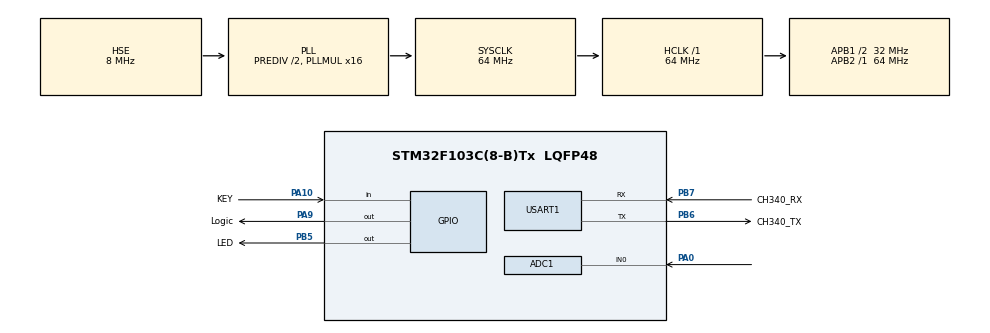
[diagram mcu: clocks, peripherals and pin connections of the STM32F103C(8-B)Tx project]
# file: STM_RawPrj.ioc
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ADC1.Channel-0\#ChannelRegularConversion=ADC_CHANNEL_0
ADC1.ContinuousConvMode=ENABLE
ADC1.NbrOfConversion=1
ADC1.NbrOfConversionFlag=1
ADC1.Rank-0\#ChannelRegularConversion=1
ADC1.SamplingTime-0\#ChannelRegularConversion=ADC_SAMPLETIME_239CYCLES_5
ADC1.master=1
Dma.ADC1.0.Direction=DMA_PERIPH_TO_MEMORY
Dma.ADC1.0.Instance=DMA1_Channel1
Dma.ADC1.0.MemDataAlignment=DMA_MDATAALIGN_HALFWORD
Dma.ADC1.0.MemInc=DMA_MINC_ENABLE
Dma.ADC1.0.Mode=DMA_CIRCULAR
Dma.ADC1.0.PeriphDataAlignment=DMA_PDATAALIGN_HALFWORD
Dma.ADC1.0.PeriphInc=DMA_PINC_DISABLE
Dma.ADC1.0.Priority=DMA_PRIORITY_LOW
Dma.Request0=ADC1
Mcu.Family=STM32F1
Mcu.Name=STM32F103C(8-B)Tx
Mcu.Package=LQFP48
NVIC.DMA1_Channel1_IRQn=true\:1\:0\:true\:false\:true\:false\:true\:true
NVIC.PriorityGroup=NVIC_PRIORITYGROUP_4
PA0-WKUP.Signal=ADCx_IN0
PA10.GPIO_Label=KEY
PA10.Signal=GPIO_Input
PA13.GPIO_Label=SYS_SWDIO
PA13.Mode=Trace_Asynchronous_SW
PA13.Signal=SYS_JTMS-SWDIO
PA14.GPIO_Label=SYS_SWCLK
PA14.Mode=Trace_Asynchronous_SW
PA14.Signal=SYS_JTCK-SWCLK
PA9.GPIO_Label=Logic
PA9.Signal=GPIO_Output
PB3.GPIO_Label=SYS_SWO
PB3.Mode=Trace_Asynchronous_SW
PB3.Signal=SYS_JTDO-TRACESWO
PB5.GPIO_Label=LED
PB5.Signal=GPIO_Output
PB6.GPIO_Label=CH340_TX
PB6.Mode=Asynchronous
PB6.Signal=USART1_TX
PB7.GPIO_Label=CH340_RX
PB7.Mode=Asynchronous
PB7.Signal=USART1_RX
PC14-OSC32_IN.Mode=LSE-External-Oscillator
PC14-OSC32_IN.Signal=RCC_OSC32_IN
PC15-OSC32_OUT.Mode=LSE-External-Oscillator
PC15-OSC32_OUT.Signal=RCC_OSC32_OUT
PD0-OSC_IN.Mode=HSE-External-Oscillator
PD0-OSC_IN.Signal=RCC_OSC_IN
PD1-OSC_OUT.Mode=HSE-External-Oscillator
PD1-OSC_OUT.Signal=RCC_OSC_OUT
ProjectManager.HeapSize=0x200
ProjectManager.StackSize=0x400
ProjectManager.TargetToolchain=MDK-ARM V5.32
RCC.ADCPresc=RCC_ADCPCLK2_DIV8
RCC.AHBFreq_Value=64000000
RCC.APB1CLKDivider=RCC_HCLK_DIV2
RCC.APB1Freq_Value=32000000
RCC.APB1TimFreq_Value=64000000
RCC.APB2Freq_Value=64000000
RCC.APB2TimFreq_Value=64000000
RCC.EnbaleCSS=true
RCC.HCLKFreq_Value=64000000
RCC.HSEDivPLL=RCC_HSE_PREDIV_DIV2
RCC.HSICalibrationValue=16
RCC.PLLMUL=RCC_PLL_MUL16
RCC.PLLSourceVirtual=RCC_PLLSOURCE_HSE
RCC.RCC_MCOSource=RCC_MCO1SOURCE_HSE
RCC.SYSCLKFreq_VALUE=64000000
RCC.SYSCLKSource=RCC_SYSCLKSOURCE_PLLCLK
RCC.USBFreq_Value=64000000
SH.ADCx_IN0.0=ADC1_IN0,IN0
USART1.VirtualMode=VM_ASYNC
board=custom

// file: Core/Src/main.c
/* USER CODE BEGIN Header */
/**
  ******************************************************************************
  * @file           : main.c
  * @brief          : Main program body
  ******************************************************************************
  * @attention
  *
  * Copyright (c) 2025 STMicroelectronics.
  * All rights reserved.
  *
  * This software is licensed under terms that can be found in the LICENSE file
  * in the root directory of this software component.
  * If no LICENSE file comes with this software, it is provided AS-IS.
  *
  ******************************************************************************
  */
/* USER CODE END Header */
#include "main.h"
#include "adc.h"
#include "dma.h"
#include "usart.h"
#include "gpio.h"

/* USER CODE BEGIN Includes */
#include "akareza.h"
/* USER CODE END Includes */

/* USER CODE BEGIN PM */
//#define ADC_to_Volt(_x) ((float)_x*8.107448107448107E-4) /**< 3.32/4095*/
#define ADC_to_Volt(_x)(_x*8.1006E-4+5.4417E-4)
#define ADC_BufferLen   100
/* USER CODE END PM */

void SystemClock_Config(void);

/* USER CODE BEGIN 0 */
uint16_t ADC_rawValue = 0;
float    ADC_Volt     = 0.0;
uint16_t ADC_Buffer[ADC_BufferLen] = {0};
/* USER CODE END 0 */

int main(void)
{

  /* MCU Configuration--------------------------------------------------------*/

  /* Reset of all peripherals, Initializes the Flash interface and the Systick. */
  HAL_Init();

  /* Configure the system clock */
  SystemClock_Config();

  /* Initialize all configured peripherals */
  MX_GPIO_Init();
  MX_DMA_Init();
  MX_USART1_UART_Init();
  MX_ADC1_Init();
  /* USER CODE BEGIN 2 */
	HAL_ADCEx_Calibration_Start(&hadc1);
	//HAL_ADC_Start(&hadc1);
	HAL_ADC_Start_DMA(&hadc1, (uint32_t*)ADC_Buffer, ADC_BufferLen);
  /* USER CODE END 2 */

  /* Infinite loop */
  while (1)
  {

    /* USER CODE BEGIN 3 */
//		HAL_ADC_Start(&hadc1);
//		if(HAL_ADC_PollForConversion(&hadc1, 10) == HAL_OK)
//		{
//			ADC_rawValue = HAL_ADC_GetValue(&hadc1);
//			ADC_Volt     = (float)ADC_rawValue*3.3/4095;
//			HAL_ADC_Stop(&hadc1);
//		};
//		HAL_Delay(100);

//		if(HAL_ADC_PollForConversion(&hadc1, 10) == HAL_OK)
//		{
//			ADC_rawValue = HAL_ADC_GetValue(&hadc1);
//			//ADC_Volt     = (float)ADC_rawValue*3.3/4095;
//			ADC_Volt = ADC_to_Volt(ADC_rawValue);
//		};
//		HAL_Delay(100);

//		HAL_GPIO_WritePin(Logic_GPIO_Port, Logic_Pin, GPIO_PIN_SET);
//		uint32_t _adcSum = 0;
//		for(uint16_t _Index = 0; _Index < ADC_BufferLen; _Index++)
//		{
//			if(HAL_ADC_PollForConversion(&hadc1, 10) == HAL_OK)
//			{
//				ADC_Buffer[_Index] = HAL_ADC_GetValue(&hadc1);
//				_adcSum += ADC_Buffer[_Index];
//			};
//		};
//		ADC_rawValue = _adcSum/ADC_BufferLen;
//		ADC_Volt = ADC_to_Volt(ADC_rawValue);
//		HAL_GPIO_WritePin(Logic_GPIO_Port, Logic_Pin, GPIO_PIN_RESET);
//		HAL_Delay(100);
  }
  /* USER CODE END 3 */
}

void SystemClock_Config(void)
{
  RCC_OscInitTypeDef RCC_OscInitStruct = {0};
  RCC_ClkInitTypeDef RCC_ClkInitStruct = {0};
  RCC_PeriphCLKInitTypeDef PeriphClkInit = {0};

  /** Initializes the RCC Oscillators according to the specified parameters
  * in the RCC_OscInitTypeDef structure.
  */
  RCC_OscInitStruct.OscillatorType = RCC_OSCILLATORTYPE_HSE;
  RCC_OscInitStruct.HSEState = RCC_HSE_ON;
  RCC_OscInitStruct.HSEPredivValue = RCC_HSE_PREDIV_DIV2;
  RCC_OscInitStruct.HSIState = RCC_HSI_ON;
  RCC_OscInitStruct.PLL.PLLState = RCC_PLL_ON;
  RCC_OscInitStruct.PLL.PLLSource = RCC_PLLSOURCE_HSE;
  RCC_OscInitStruct.PLL.PLLMUL = RCC_PLL_MUL16;
  if (HAL_RCC_OscConfig(&RCC_OscInitStruct) != HAL_OK)
  {
    Error_Handler();
  }

  /** Initializes the CPU, AHB and APB buses clocks
  */
  RCC_ClkInitStruct.ClockType = RCC_CLOCKTYPE_HCLK|RCC_CLOCKTYPE_SYSCLK
                              |RCC_CLOCKTYPE_PCLK1|RCC_CLOCKTYPE_PCLK2;
  RCC_ClkInitStruct.SYSCLKSource = RCC_SYSCLKSOURCE_PLLCLK;
  RCC_ClkInitStruct.AHBCLKDivider = RCC_SYSCLK_DIV1;
  RCC_ClkInitStruct.APB1CLKDivider = RCC_HCLK_DIV2;
  RCC_ClkInitStruct.APB2CLKDivider = RCC_HCLK_DIV1;

  if (HAL_RCC_ClockConfig(&RCC_ClkInitStruct, FLASH_LATENCY_2) != HAL_OK)
  {
    Error_Handler();
  }
  PeriphClkInit.PeriphClockSelection = RCC_PERIPHCLK_ADC;
  PeriphClkInit.AdcClockSelection = RCC_ADCPCLK2_DIV8;
  if (HAL_RCCEx_PeriphCLKConfig(&PeriphClkInit) != HAL_OK)
  {
    Error_Handler();
  }

  /** Enables the Clock Security System
  */
  HAL_RCC_EnableCSS();
}

/* USER CODE BEGIN 4 */
/**
  * @brief  Conversion complete callback in non blocking mode
  * @param  hadc: ADC handle
  * @retval None
  */
void HAL_ADC_ConvCpltCallback(ADC_HandleTypeDef* hadc)
{
	if(hadc->Instance == ADC1)
	{
		HAL_GPIO_WritePin(Logic_GPIO_Port, Logic_Pin, GPIO_PIN_SET);
		uint32_t _adcSum = 0;
		for(uint16_t _Index = 0; _Index < ADC_BufferLen; _Index++)
		{
				ADC_Buffer[_Index] = HAL_ADC_GetValue(&hadc1);
				_adcSum += ADC_Buffer[_Index];
		};
		ADC_rawValue = _adcSum/ADC_BufferLen;
		ADC_Volt = ADC_to_Volt(ADC_rawValue);
		HAL_GPIO_WritePin(Logic_GPIO_Port, Logic_Pin, GPIO_PIN_RESET);
	};
};
/* USER CODE END 4 */

void Error_Handler(void)
{
  __disable_irq();
  while (1)
  {
  }
}
